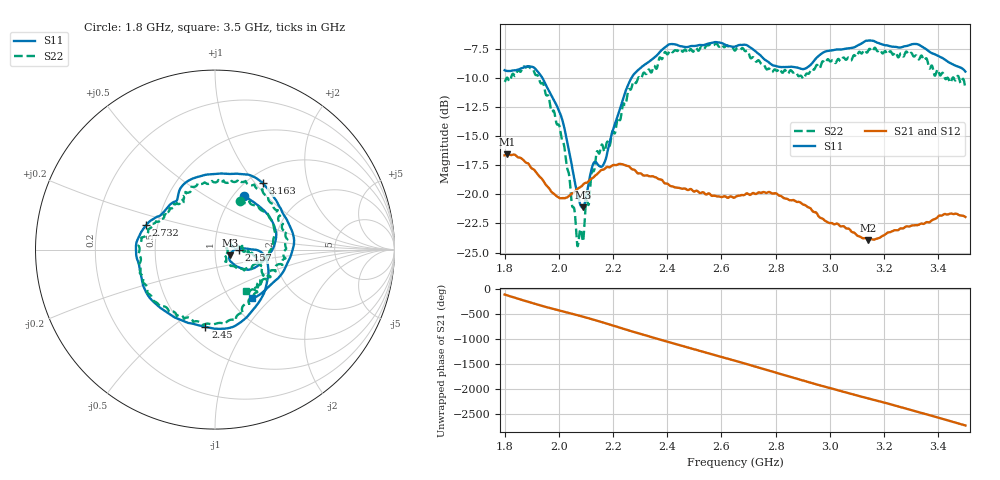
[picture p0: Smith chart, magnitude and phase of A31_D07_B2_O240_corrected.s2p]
! Created with skrf 1.9.0 (http://scikit-rf.org).
# Hz S RI R 50.0
!freq ReS11 ImS11 ReS21 ImS21 ReS12 ImS12 ReS22 ImS22
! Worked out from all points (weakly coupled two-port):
!   1601 points, 1.8 GHz to 3.5 GHz, reference 50 ohm
!   highest |S21| = -16.53 dB at 1.811 GHz (marker M1); lowest = -23.9 dB at 3.142 GHz (marker M2)
!   lowest |S11| = -21.1 dB at 2.088 GHz (marker M3), VSWR 1.19, Z = 58.8 - j3.66 ohm
!   |S11| at or under -10 dB: 1.94 GHz to 2.267 GHz (327.3 MHz wide, 15.6 % of centre)
!   |S22| runs from -24.5 to -7.0 dB; largest |S21 - S12| = 0.0028
!   S11 on the Smith chart (normalised r, x): 1.8 GHz: 1.12, +0.76; 2.157 GHz: 1.30, -0.00; 2.45 GHz: 0.63, -0.66; 2.732 GHz: 0.43, +0.14; 3.163 GHz: 1.16, +1.10; 3.5 GHz: 1.26, -0.76
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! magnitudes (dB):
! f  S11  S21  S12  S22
! 1.8 GHz  -9.3  -16.6  -16.6  -10.3
! 1.811 GHz  -9.4  -16.5  -16.5  -10.0
! 1.887 GHz  -9.0  -17.3  -17.4  -9.0
! 1.941 GHz  -10.1  -18.8  -18.8  -10.4
! 2.011 GHz  -13.5  -20.3  -20.3  -15.3
! 2.067 GHz  -19.8  -19.6  -19.6  -24.1
! 2.084 GHz  -21.1  -19.3  -19.3  -23.3
! 2.088 GHz  -21.1  -19.2  -19.2  -24.0
! 2.127 GHz  -17.4  -18.5  -18.5  -18.0
! 2.157 GHz  -17.6  -17.9  -17.9  -15.8
! 2.189 GHz  -15.4  -17.7  -17.7  -15.7
! 2.264 GHz  -10.1  -17.7  -17.7  -11.0
! 2.367 GHz  -7.9  -18.7  -18.6  -8.6
! 2.45 GHz  -7.2  -19.5  -19.5  -7.5
! 2.65 GHz  -7.3  -20.2  -20.2  -7.6
! 2.732 GHz  -7.8  -19.9  -19.9  -8.5
! 2.934 GHz  -8.7  -21.3  -21.3  -9.2
! 3.142 GHz  -6.8  -23.9  -23.8  -7.6
! 3.163 GHz  -6.8  -23.9  -23.9  -7.4
! 3.217 GHz  -7.2  -23.3  -23.2  -7.8
! 3.324 GHz  -7.1  -22.6  -22.6  -8.2
! 3.5 GHz  -9.4  -21.9  -21.9  -10.9
